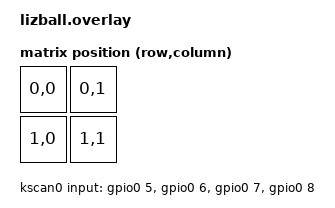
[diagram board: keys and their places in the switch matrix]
/*
 * Copyright (c) 2025 ZMK Contributors
 *
 * SPDX-License-Identifier: MIT
 */

#include <dt-bindings/zmk/matrix_transform.h>

/ {
    chosen {
        zmk,kscan = &kscan0;
        zmk,matrix_transform = &default_transform;
    };

    default_transform: keymap_transform_0 {
        compatible = "zmk,matrix-transform";
        columns = <2>;
        rows = <2>;
        map = <
            RC(0,0) RC(0,1)
            RC(1,0) RC(1,1)
        >;
    };

    kscan0: kscan {
        compatible = "zmk,kscan-gpio-direct";
        input-gpios
            = <&gpio0 5 (GPIO_ACTIVE_LOW | GPIO_PULL_UP)>
            , <&gpio0 6 (GPIO_ACTIVE_LOW | GPIO_PULL_UP)>
            , <&gpio0 7 (GPIO_ACTIVE_LOW | GPIO_PULL_UP)>
            , <&gpio0 8 (GPIO_ACTIVE_LOW | GPIO_PULL_UP)>
            ;
    };

    sensors {
        compatible = "gpio-keys";
        trackball: trackball {
            compatible = "pmw3610-trackball";
            spi-max-frequency = <2000000>;
            reg = <0>;
            cs-gpios = <&gpio0 17 GPIO_ACTIVE_LOW>;
            irq-gpios = <&gpio0 20 GPIO_ACTIVE_HIGH>;
            
            /* PMW3610 requires the MOSI/MISO/SCLK pins */
            spi-dev = <&spi0>;
            
            /* specify trackball physical placement */
            trackball-position = "center"; /* The placement of the trackball (center, left, right) */
            
            /* for 25mm trackball */
            trackball-diameter-mm = <25>;
            
            /* default DPI setting, can be changed later via keycode */
            default-dpi = <800>;
        };
    };

    vbatt {
        compatible = "zmk,battery-voltage-divider";
        io-channels = <&adc 2>;  // ADC channel connected to battery voltage
        output-ohms = <2000000>; // 2 MΩ
        full-ohms = <3000000>;   // 2 MΩ + 1 MΩ
        
        // For a 250mAh battery (3.7V nominal)
        power-supply = "battery";
    };

    battery: battery {
        compatible = "zmk,battery";
        label = "BATTERY";
        voltage = <3700>; // 3.7V nominal
        capacity = <250>; // 250mAh
    };
};

&spi0 {
    status = "okay";
    compatible = "nordic,nrf-spim";
    sck-pin = <19>;
    mosi-pin = <21>;
    miso-pin = <22>;
    
    cs-gpios = <&gpio0 17 GPIO_ACTIVE_LOW>;
};

&adc {
    status = "okay";
};
